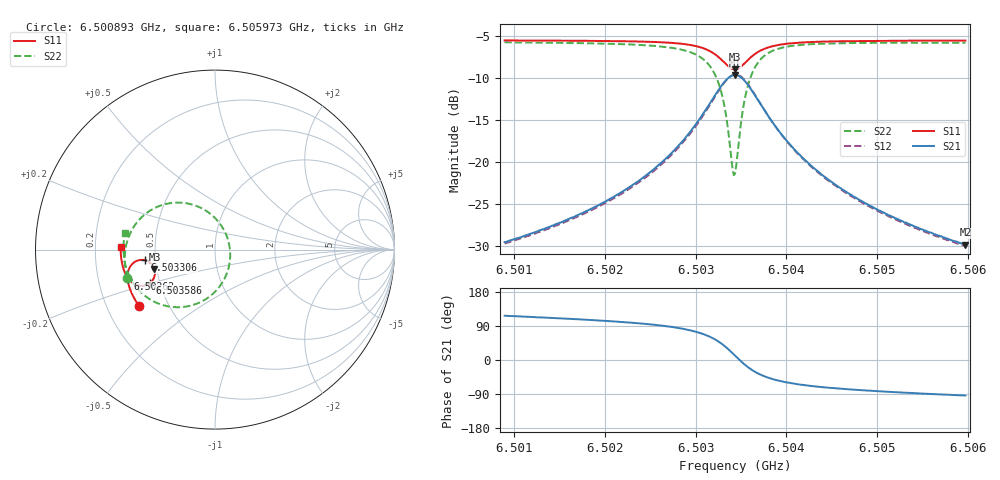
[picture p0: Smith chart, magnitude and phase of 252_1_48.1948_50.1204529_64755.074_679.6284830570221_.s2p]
#  HZ  S  RI  R  50.00
! Rohde & Schwarz Vector Network Analyzer
! Rohde-Schwarz,ZNB20-2Port,1311601062101988,3.16
! Created: UTC 3/20/2024, 11:47:18 AM
! freq[Hz]  re:S11  im:S11  re:S21  im:S21  re:S12  im:S12  re:S22  im:S22
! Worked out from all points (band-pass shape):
!   401 points, 6.500893 GHz to 6.505973 GHz, reference 50 ohm
!   highest |S21| = -9.67 dB at 6.503433 GHz (marker M1); lowest = -29.9 dB at 6.505973 GHz (marker M2)
!   |S21| within 3 dB of the highest: 6.503179 GHz to 6.503687 GHz (508.2 kHz wide, 0.00781 % of centre)
!   lowest |S11| = -9.0 dB at 6.503433 GHz (marker M3), VSWR 2.10, Z = 24.3 - j5.99 ohm
!   |S11| at or under -10 dB: nowhere
!   |S22| runs from -21.6 to -5.8 dB; largest |S21 - S12| = 0.011
!   S11 on the Smith chart (normalised r, x): 6.500893 GHz: 0.34, -0.29; 6.50262 GHz: 0.33, -0.15; 6.503306 GHz: 0.44, -0.06; 6.503586 GHz: 0.44, -0.20; 6.505973 GHz: 0.31, +0.01
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6.5008934e9  -0.4236 -0.3129  -0.015 0.0297  -0.0134 0.0297  -0.4884 -0.159
6.5017443e9  -0.4605 -0.2505  -0.0144 0.0471  -0.012 0.0469  -0.5024 -0.0696
6.5022395e9  -0.478 -0.2066  -0.0112 0.0681  -0.00816 0.0669  -0.4993 0.000613
6.5025951e9  -0.4864 -0.1673  -0.00271 0.0958  0.000956 0.0935  -0.4806 0.0716
6.5026205e9  -0.4868 -0.1641  -0.00146 0.0985  0.00228 0.0962  -0.4783 0.0778
6.5029126e9  -0.4833 -0.1194  0.0256 0.1422  0.0293 0.1378  -0.422 0.1669
6.503103e9  -0.4621 -0.0814  0.0796 0.1842  0.082 0.1781  -0.3189 0.2394
6.5032173e9  -0.4297 -0.0607  0.1485 0.2018  0.1493 0.1955  -0.1946 0.2617
6.5033062e9  -0.3894 -0.059  0.2279 0.1855  0.2282 0.1805  -0.0576 0.2213
6.5033443e9  -0.3702 -0.0666  0.2639 0.1624  0.2649 0.1577  0.00222 0.174
6.5034078e9  -0.3435 -0.0932  0.3115 0.0984  0.3141 0.0934  0.0737 0.0509
6.5034332e9  -0.3373 -0.1079  0.3216 0.066  0.3248 0.0602  0.0843 -0.00935
6.5034586e9  -0.3344 -0.1234  0.3249 0.0325  0.3285 0.0256  0.0819 -0.0707
6.5035221e9  -0.3417 -0.1605  0.3066 -0.0452  0.3086 -0.0552  0.0259 -0.2055
6.5035856e9  -0.363 -0.1863  0.2638 -0.0989  0.2624 -0.1101  -0.071 -0.2876
6.5036872e9  -0.4024 -0.2014  0.1892 -0.1349  0.1837 -0.1442  -0.2208 -0.3208
6.5038523e9  -0.4483 -0.1916  0.1077 -0.1315  0.1008 -0.1364  -0.3672 -0.274
6.5040301e9  -0.4757 -0.1703  0.0635 -0.1113  0.0574 -0.1136  -0.439 -0.2091
6.504284e9  -0.4963 -0.1403  0.0337 -0.0872  0.029 -0.0877  -0.482 -0.1371
6.504665e9  -0.5118 -0.1007  0.0148 -0.0643  0.0115 -0.0638  -0.5042 -0.0622
6.5051349e9  -0.5212 -0.0574  0.00482 -0.0478  0.00269 -0.047  -0.5103 0.00335
6.505973e9  -0.5259 0.0134  -0.00209 -0.032  -0.00336 -0.0313  -0.5022 0.0915
